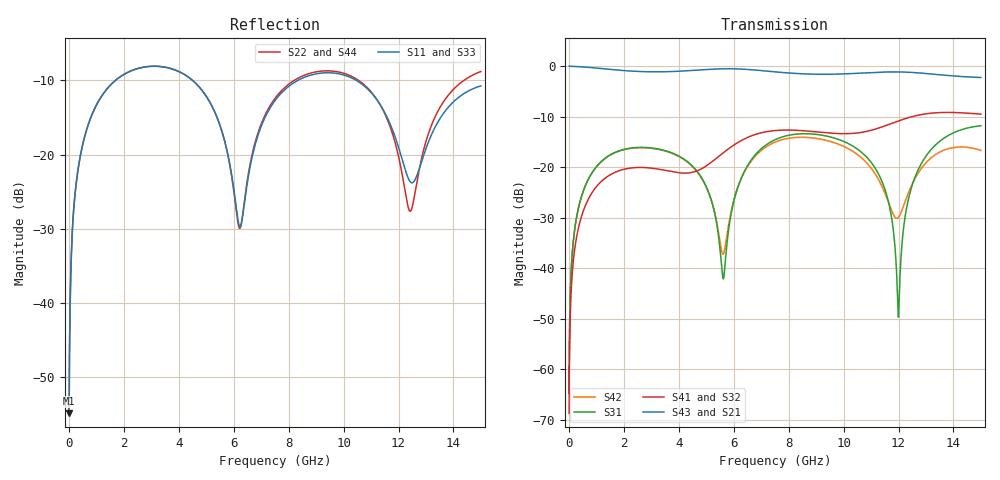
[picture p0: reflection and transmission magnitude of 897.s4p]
! Created with skrf 1.8.0 (http://scikit-rf.org).
# GHz S RI R 50.0
!freq ReS11 ImS11 ReS12 ImS12 ReS13 ImS13
! ReS14 ImS14
! ReS21 ImS21 ReS22 ImS22 ReS23 ImS23
! ReS24 ImS24
! ReS31 ImS31 ReS32 ImS32 ReS33 ImS33
! ReS34 ImS34
! ReS41 ImS41 ReS42 ImS42 ReS43 ImS43
! ReS44 ImS44
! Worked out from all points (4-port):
!   2499 points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, 5 MHz to 15 GHz, reference 50 ohm
!   strongest paths, dB at 5 MHz, 3.476 GHz, 7.19 GHz, 11.1 GHz, 15 GHz:
!     S43: 0.0, -1.1, -1.0, -1.2, -2.3
!     S21: 0.0, -1.1, -1.0, -1.3, -2.2
!     S41: -68.7, -20.6, -13.0, -12.5, -9.5
!     S32: -68.7, -20.6, -13.0, -12.6, -9.5
!     S31: -64.7, -16.7, -15.5, -19.7, -11.8
!     S42: -64.7, -16.8, -15.9, -20.9, -16.7
!   lowest |S11| = -54.8 dB at 5 MHz (marker M1), VSWR 1.00, Z = 50.1 + j0.11 ohm
!   |S11| at or under -10 dB: start of sweep to 1.696 GHz; 4.496 GHz to 8.338 GHz (3.842 GHz wide, 59.9 % of centre); 10.46 GHz to end of sweep
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0.005  0.00144 0.0011  0.9985 -0.00281  7.22e-05 0.000579  -7.01e-05 -0.000362
       0.9985 -0.00281  0.00144 0.0011  -7.01e-05 -0.000362  7.22e-05 0.000579
       7.22e-05 0.000579  -7.01e-05 -0.000362  0.00144 0.0011  0.9985 -0.00281
       -7.01e-05 -0.000362  7.22e-05 0.000579  0.9985 -0.00281  0.00144 0.0011
0.3626511  0.0243 0.0833  0.9666 -0.2024  0.0116 0.0398  -0.00953 -0.0245
           0.9666 -0.2024  0.0243 0.0833  -0.00952 -0.0245  0.0114 0.0398
           0.0116 0.0398  -0.00952 -0.0245  0.0243 0.0833  0.9666 -0.2024
           -0.00953 -0.0245  0.0114 0.0398  0.9666 -0.2024  0.0243 0.0833
1.619545  0.244 0.187  0.6031 -0.6966  0.1199 0.0678  -0.0863 -0.0149
          0.6031 -0.6966  0.2446 0.1866  -0.0863 -0.015  0.1182 0.0698
          0.1199 0.0678  -0.0863 -0.015  0.244 0.187  0.6032 -0.6966
          -0.0863 -0.0149  0.1182 0.0698  0.6032 -0.6966  0.2445 0.1867
6.296373  0.0339 0.0109  -0.9335 -0.019  0.0166 0.0789  0.0032 0.1849
          -0.9335 -0.019  0.0336 0.0136  0.00172 0.1849  0.00296 0.0796
          0.0166 0.0789  0.00172 0.1849  0.0336 0.0123  -0.9335 -0.019
          0.0032 0.1849  0.00296 0.0796  -0.9335 -0.019  0.0338 0.0148
10.52313  0.2817 -0.1319  0.3382 0.7789  0.0846 -0.1236  0.1746 -0.1315
          0.3382 0.7789  0.2789 -0.1526  0.1761 -0.128  0.0869 -0.0999
          0.0846 -0.1236  0.1761 -0.128  0.2802 -0.1317  0.3374 0.78
          0.1746 -0.1315  0.0869 -0.0999  0.3374 0.78  0.2773 -0.1503
11.99875  0.0809 -0.0781  0.8061 0.3416  -0.00311 0.00109  0.1022 -0.2682
          0.8061 0.3416  0.0576 -0.0789  0.1071 -0.2664  -0.0318 0.00346
          -0.00311 0.00109  0.1071 -0.2664  0.0782 -0.075  0.8061 0.3428
          0.1022 -0.2682  -0.0318 0.00346  0.8061 0.3428  0.0579 -0.0749
15  0.2799 0.0765  0.3656 -0.6807  0.2226 -0.1288  -0.3217 -0.0948
    0.3656 -0.6807  0.3513 0.0887  -0.3198 -0.101  0.1453 0.0206
    0.2226 -0.1288  -0.3198 -0.101  0.2817 0.0829  0.3684 -0.6781
    -0.3217 -0.0948  0.1453 0.0206  0.3684 -0.6781  0.3543 0.0869
